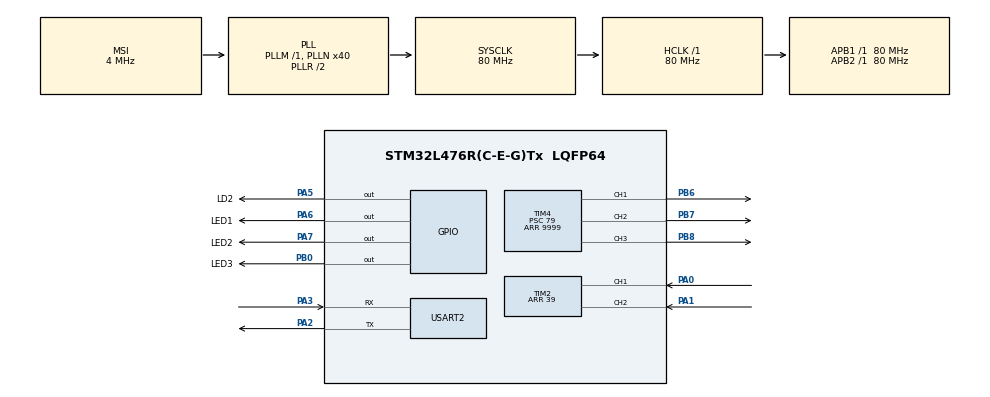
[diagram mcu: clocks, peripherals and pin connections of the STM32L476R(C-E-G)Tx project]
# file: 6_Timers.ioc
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Mcu.Family=STM32L4
Mcu.Name=STM32L476R(C-E-G)Tx
Mcu.Package=LQFP64
NVIC.PriorityGroup=NVIC_PRIORITYGROUP_4
NVIC.TIM3_IRQn=true\:9\:0\:true\:false\:true\:true\:true\:true
NVIC.TIM6_DAC_IRQn=true\:10\:0\:true\:false\:true\:true\:true\:true
PA0.Signal=S_TIM2_CH1
PA1.Signal=S_TIM2_CH2
PA13\ (JTMS-SWDIO).Mode=Serial_Wire
PA13\ (JTMS-SWDIO).Signal=SYS_JTMS-SWDIO
PA14\ (JTCK-SWCLK).Mode=Serial_Wire
PA14\ (JTCK-SWCLK).Signal=SYS_JTCK-SWCLK
PA2.Mode=Asynchronous
PA2.Signal=USART2_TX
PA3.Mode=Asynchronous
PA3.Signal=USART2_RX
PA5.GPIO_Label=LD2
PA5.Signal=GPIO_Output
PA6.GPIO_Label=LED1
PA6.Signal=GPIO_Output
PA7.GPIO_Label=LED2
PA7.Signal=GPIO_Output
PB0.GPIO_Label=LED3
PB0.Signal=GPIO_Output
PB6.Signal=S_TIM4_CH1
PB7.Signal=S_TIM4_CH2
PB8.Signal=S_TIM4_CH3
PC14-OSC32_IN\ (PC14).Mode=LSE-External-Oscillator
PC14-OSC32_IN\ (PC14).Signal=RCC_OSC32_IN
PC15-OSC32_OUT\ (PC15).Mode=LSE-External-Oscillator
PC15-OSC32_OUT\ (PC15).Signal=RCC_OSC32_OUT
ProjectManager.HeapSize=0x200
ProjectManager.StackSize=0x400
ProjectManager.TargetToolchain=STM32CubeIDE
RCC.AHBFreq_Value=80000000
RCC.APB1Freq_Value=80000000
RCC.APB1TimFreq_Value=80000000
RCC.APB2Freq_Value=80000000
RCC.APB2TimFreq_Value=80000000
RCC.CortexFreq_Value=80000000
RCC.HCLKFreq_Value=80000000
RCC.HSE_VALUE=8000000
RCC.HSI_VALUE=16000000
RCC.MSI_VALUE=4000000
RCC.PLLN=40
RCC.SYSCLKFreq_VALUE=80000000
RCC.SYSCLKSource=RCC_SYSCLKSOURCE_PLLCLK
RCC.VCOOutputFreq_Value=160000000
SH.S_TIM2_CH1.0=TIM2_CH1,Encoder_Interface
SH.S_TIM2_CH2.0=TIM2_CH2,Encoder_Interface
SH.S_TIM4_CH1.0=TIM4_CH1,PWM Generation1 CH1
SH.S_TIM4_CH2.0=TIM4_CH2,PWM Generation2 CH2
SH.S_TIM4_CH3.0=TIM4_CH3,PWM Generation3 CH3
TIM2.Period=39
TIM3.Channel-Output\ Compare1\ No\ Output=TIM_CHANNEL_1
TIM3.Channel-Output\ Compare2\ No\ Output=TIM_CHANNEL_2
TIM3.Channel-Output\ Compare3\ No\ Output=TIM_CHANNEL_3
TIM3.Period=9999
TIM3.Prescaler=7999
TIM3.Pulse-Output\ Compare1\ No\ Output=2500
TIM3.Pulse-Output\ Compare2\ No\ Output=5000
TIM3.Pulse-Output\ Compare3\ No\ Output=7500
TIM4.Channel-PWM\ Generation1\ CH1=TIM_CHANNEL_1
TIM4.Channel-PWM\ Generation2\ CH2=TIM_CHANNEL_2
TIM4.Channel-PWM\ Generation3\ CH3=TIM_CHANNEL_3
TIM4.OCPolarity_1=TIM_OCPOLARITY_LOW
TIM4.OCPolarity_2=TIM_OCPOLARITY_LOW
TIM4.OCPolarity_3=TIM_OCPOLARITY_LOW
TIM4.Period=9999
TIM4.Prescaler=79
TIM4.Pulse-PWM\ Generation1\ CH1=50
TIM4.Pulse-PWM\ Generation2\ CH2=400
TIM4.Pulse-PWM\ Generation3\ CH3=2000
TIM6.Period=9999
TIM6.Prescaler=7999
USART2.VirtualMode-Asynchronous=VM_ASYNC
VP_TIM3_VS_ClockSourceINT.Mode=Internal
VP_TIM3_VS_no_output1.Mode=Output Compare1 No Output
VP_TIM3_VS_no_output2.Mode=Output Compare2 No Output
VP_TIM3_VS_no_output3.Mode=Output Compare3 No Output
VP_TIM4_VS_ClockSourceINT.Mode=Internal
VP_TIM6_VS_ClockSourceINT.Mode=Enable_Timer
board=custom

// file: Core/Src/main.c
/* USER CODE BEGIN Header */
/**
  ******************************************************************************
  * @file           : main.c
  * @brief          : Main program body
  ******************************************************************************
  * @attention
  *
  * Copyright (c) 2024 STMicroelectronics.
  * All rights reserved.
  *
  * This software is licensed under terms that can be found in the LICENSE file
  * in the root directory of this software component.
  * If no LICENSE file comes with this software, it is provided AS-IS.
  *
  ******************************************************************************
  */
/* USER CODE END Header */
#include "main.h"

/* USER CODE BEGIN Includes */
#include <math.h>
#include <stdio.h>
/* USER CODE END Includes */

TIM_HandleTypeDef htim2;
TIM_HandleTypeDef htim3;
TIM_HandleTypeDef htim4;
TIM_HandleTypeDef htim6;

UART_HandleTypeDef huart2;

void SystemClock_Config(void);
static void MX_GPIO_Init(void);
static void MX_TIM6_Init(void);
static void MX_TIM3_Init(void);
static void MX_TIM4_Init(void);
static void MX_TIM2_Init(void);
static void MX_USART2_UART_Init(void);

/* USER CODE BEGIN 0 */

//Funkcja wywolywana po pojawieniu sie przerwania po przepelnieniu dowolnego licznika
//(Po przepelnieniu licznika wywolywane jest przerwanie)
//Funkcja obslugujaca przerwania po przepelnieniu dowolnego licznika:
void HAL_TIM_PeriodElapsedCallback(TIM_HandleTypeDef *htim) {

	//Jeżeli przerwanie wywolane zostalo po przepelnieniu sie licznika TIM6:
	if(htim == &htim6) {
		//Miganie dioda opiera sie o timer sprzetowy TIM6 i system przerwan
		//Program glowny nie jest blokowany.
		HAL_GPIO_TogglePin(LD2_GPIO_Port, LD2_Pin);
	}

	//Jeżeli przerwanie wywolane zostalo po przepelnieniu licznika TIM3:
	if(htim == &htim3) {
		//Zapalenie 3 zewnetrznych diod na plytce stykowej:
		HAL_GPIO_WritePin(LED1_GPIO_Port, LED1_Pin, GPIO_PIN_SET);
		HAL_GPIO_WritePin(LED2_GPIO_Port, LED2_Pin, GPIO_PIN_SET);
		HAL_GPIO_WritePin(LED3_GPIO_Port, LED3_Pin, GPIO_PIN_SET);
	}

}

//Funkcja obslugujaca przerwania generowanych przez poszczzegolne kanaly licznika
//(po przepelnieniu danego kanalu licznika - wartosc w parametrze pulse w konfiguracji):
void HAL_TIM_OC_DelayElapsedCallback(TIM_HandleTypeDef *htim) {

	//Jezeli przerwanie zostalo wywolane przez kanaly licznika TIM3
	if(htim == &htim3) {
		switch(HAL_TIM_GetActiveChannel(&htim3)) {
		case HAL_TIM_ACTIVE_CHANNEL_1:
			HAL_GPIO_WritePin(LED1_GPIO_Port, LED1_Pin, GPIO_PIN_RESET);
			break;
		case HAL_TIM_ACTIVE_CHANNEL_2:
			HAL_GPIO_WritePin(LED2_GPIO_Port, LED2_Pin, GPIO_PIN_RESET);
			break;
		case HAL_TIM_ACTIVE_CHANNEL_3:
			HAL_GPIO_WritePin(LED3_GPIO_Port, LED3_Pin, GPIO_PIN_RESET);
			break;
		default:
			break;
		}
	}
}

/*volatile uint32_t captured_value;
//Funkcja wywolywana w przerwaniu po pomiarze czasu trwania impulsu(stanu niskiego) wyjscia
//enkodera
void HAL_TIM_IC_CaptureCallback(TIM_HandleTypeDef *htim) {

	//Jezeli przerwanie zostalo wywolane przez kanal timera TIM2:
	if(htim == &htim2) {
		switch(HAL_TIM_GetActiveChannel(&htim2)) {
		case HAL_TIM_ACTIVE_CHANNEL_1:
			//Odcytanie dlugosci impulsu z kanalu 1 timera TIM2:
			captured_value = HAL_TIM_ReadCapturedValue(htim, TIM_CHANNEL_1);
			break;
		default:
			break;
		}

	}
}
*/

//Obliczanie wartosci wypelnienia pwm do sterowania dioda rgb:
float calc_pwm(float val)
{
    const float k = 0.13f;
    const float x0 = 70.0f;
    return 10000.0f / (1.0f + exp(-k * (val - x0)));
}

//Przekierowanie komunikatów wysylanych przez printf na UART:
int __io_putchar(int ch)
{
  if (ch == '\n') {
    __io_putchar('\r');
  }

  HAL_UART_Transmit(&huart2, (uint8_t*)&ch, 1, HAL_MAX_DELAY);

  return 1;
}

/* USER CODE END 0 */

int main(void)
{

  /* MCU Configuration--------------------------------------------------------*/

  /* Reset of all peripherals, Initializes the Flash interface and the Systick. */
  HAL_Init();

  /* Configure the system clock */
  SystemClock_Config();

  /* Initialize all configured peripherals */
  MX_GPIO_Init();
  MX_TIM6_Init();
  MX_TIM3_Init();
  MX_TIM4_Init();
  MX_TIM2_Init();
  MX_USART2_UART_Init();
  /* USER CODE BEGIN 2 */

  //Uruchomienie licznika TIM6:
  HAL_TIM_Base_Start_IT(&htim6);

  //Uruchomienie licznika TIM3:
  HAL_TIM_Base_Start_IT(&htim3);
  //Uruchomienie kanalow licznika TIM3 w trybie przerwan (przerwania sa obslugiwane w funkcji
  //HAL_TIM_OC_DelayElapsedCallback:
  HAL_TIM_OC_Start_IT(&htim3, TIM_CHANNEL_1);
  HAL_TIM_OC_Start_IT(&htim3, TIM_CHANNEL_2);
  HAL_TIM_OC_Start_IT(&htim3, TIM_CHANNEL_3);

  //Uruchomienie licznika TIM4:
  HAL_TIM_Base_Start_IT(&htim4);
  //Uruchomienie kanalow licznika TIM4 w trybie wyjscia PWM (kanaly licznika bezposrednio
  //steruja pinami). W konfiguracji sprzętowej (Pulse) mozna ustawic staly wspolczynnik
  //wypelnienia sygnalu PWM, natomiast w makrze __HAL_TIM_SET_COMPARE mozna sterowac
  //wspolczynnikiem wypelninia.:
  HAL_TIM_PWM_Start(&htim4, TIM_CHANNEL_1);
  HAL_TIM_PWM_Start(&htim4, TIM_CHANNEL_2);
  HAL_TIM_PWM_Start(&htim4, TIM_CHANNEL_3);

  //Uruchomienie licznika TIM2:
  HAL_TIM_Base_Start(&htim2);
  //Uruchomienie kanalu 1 licznika TIM2 w trybie wejscia dla sygnalu zewnetrznego w trybie przerwan:
  HAL_TIM_IC_Start_IT(&htim2, TIM_CHANNEL_1);

  //Uruchomienie timera TIM2 w trybie obsługi enkoderów (pomiaru pozycji enkodera):
  HAL_TIM_Encoder_Start(&htim2, TIM_CHANNEL_ALL);
  int16_t prev_value = 0;

  //uint32_t old_value = 0;

  //int counter = 0;

  /* USER CODE END 2 */

  /* Infinite loop */
  /* USER CODE BEGIN WHILE */
  while (1)
  {
	  //Sterowanie jasnością diody RGB - sygnałem PWM ze zmiennym współczynnikiem wypelnienia:
	  /*
	  float r = 50 * (1.0f + sin(counter / 100.0f));
	  float g = 50 * (1.0f + sin(1.5f * counter / 100.0f));
	  float b = 50 * (1.0f + sin(2.0f * counter / 100.0f));
	  __HAL_TIM_SET_COMPARE(&htim4, TIM_CHANNEL_1, calc_pwm(b));
	  __HAL_TIM_SET_COMPARE(&htim4, TIM_CHANNEL_2, calc_pwm(g));
	  __HAL_TIM_SET_COMPARE(&htim4, TIM_CHANNEL_3, calc_pwm(r));

	  HAL_Delay(10);
	  counter++;
	  */

	  //Wyswietlanie zliczonych impulsów z wyjscia enkodera:
	  /*
	  uint32_t value = __HAL_TIM_GET_COUNTER(&htim2);
	  if(old_value != value) {
		  old_value = value;
		  printf("value = %lu\n", value);
	  }
	  */

	  //Wyswietlanie czasu trwania impulsu (stanu niskiego) enkodera:
	  /*
	  if(captured_value != 0) {

		  printf("value = %lu\n", captured_value);
		  captured_value = 0;
	  }
	  */

	  //Wyswietlanie pozycji enkodera:
	  int16_t value = __HAL_TIM_GET_COUNTER(&htim2);
	  if(value != prev_value) {

		  printf("value = %d\n", value);
		  prev_value = value;
	  }

    /* USER CODE END WHILE */

  }
}

void SystemClock_Config(void)
{
  RCC_OscInitTypeDef RCC_OscInitStruct = {0};
  RCC_ClkInitTypeDef RCC_ClkInitStruct = {0};

  /** Configure the main internal regulator output voltage
  */
  if (HAL_PWREx_ControlVoltageScaling(PWR_REGULATOR_VOLTAGE_SCALE1) != HAL_OK)
  {
    Error_Handler();
  }

  /** Configure LSE Drive Capability
  */
  HAL_PWR_EnableBkUpAccess();
  __HAL_RCC_LSEDRIVE_CONFIG(RCC_LSEDRIVE_LOW);

  /** Initializes the RCC Oscillators according to the specified parameters
  * in the RCC_OscInitTypeDef structure.
  */
  RCC_OscInitStruct.OscillatorType = RCC_OSCILLATORTYPE_LSE|RCC_OSCILLATORTYPE_MSI;
  RCC_OscInitStruct.LSEState = RCC_LSE_ON;
  RCC_OscInitStruct.MSIState = RCC_MSI_ON;
  RCC_OscInitStruct.MSICalibrationValue = 0;
  RCC_OscInitStruct.MSIClockRange = RCC_MSIRANGE_6;
  RCC_OscInitStruct.PLL.PLLState = RCC_PLL_ON;
  RCC_OscInitStruct.PLL.PLLSource = RCC_PLLSOURCE_MSI;
  RCC_OscInitStruct.PLL.PLLM = 1;
  RCC_OscInitStruct.PLL.PLLN = 40;
  RCC_OscInitStruct.PLL.PLLP = RCC_PLLP_DIV7;
  RCC_OscInitStruct.PLL.PLLQ = RCC_PLLQ_DIV2;
  RCC_OscInitStruct.PLL.PLLR = RCC_PLLR_DIV2;
  if (HAL_RCC_OscConfig(&RCC_OscInitStruct) != HAL_OK)
  {
    Error_Handler();
  }

  /** Initializes the CPU, AHB and APB buses clocks
  */
  RCC_ClkInitStruct.ClockType = RCC_CLOCKTYPE_HCLK|RCC_CLOCKTYPE_SYSCLK
                              |RCC_CLOCKTYPE_PCLK1|RCC_CLOCKTYPE_PCLK2;
  RCC_ClkInitStruct.SYSCLKSource = RCC_SYSCLKSOURCE_PLLCLK;
  RCC_ClkInitStruct.AHBCLKDivider = RCC_SYSCLK_DIV1;
  RCC_ClkInitStruct.APB1CLKDivider = RCC_HCLK_DIV1;
  RCC_ClkInitStruct.APB2CLKDivider = RCC_HCLK_DIV1;

  if (HAL_RCC_ClockConfig(&RCC_ClkInitStruct, FLASH_LATENCY_4) != HAL_OK)
  {
    Error_Handler();
  }

  /** Enable MSI Auto calibration
  */
  HAL_RCCEx_EnableMSIPLLMode();
}

static void MX_TIM2_Init(void)
{

  TIM_Encoder_InitTypeDef sConfig = {0};
  TIM_MasterConfigTypeDef sMasterConfig = {0};

  htim2.Instance = TIM2;
  htim2.Init.Prescaler = 0;
  htim2.Init.CounterMode = TIM_COUNTERMODE_UP;
  htim2.Init.Period = 39;
  htim2.Init.ClockDivision = TIM_CLOCKDIVISION_DIV1;
  htim2.Init.AutoReloadPreload = TIM_AUTORELOAD_PRELOAD_DISABLE;
  sConfig.EncoderMode = TIM_ENCODERMODE_TI1;
  sConfig.IC1Polarity = TIM_ICPOLARITY_RISING;
  sConfig.IC1Selection = TIM_ICSELECTION_DIRECTTI;
  sConfig.IC1Prescaler = TIM_ICPSC_DIV1;
  sConfig.IC1Filter = 0;
  sConfig.IC2Polarity = TIM_ICPOLARITY_RISING;
  sConfig.IC2Selection = TIM_ICSELECTION_DIRECTTI;
  sConfig.IC2Prescaler = TIM_ICPSC_DIV1;
  sConfig.IC2Filter = 0;
  if (HAL_TIM_Encoder_Init(&htim2, &sConfig) != HAL_OK)
  {
    Error_Handler();
  }
  sMasterConfig.MasterOutputTrigger = TIM_TRGO_RESET;
  sMasterConfig.MasterSlaveMode = TIM_MASTERSLAVEMODE_DISABLE;
  if (HAL_TIMEx_MasterConfigSynchronization(&htim2, &sMasterConfig) != HAL_OK)
  {
    Error_Handler();
  }

}

static void MX_TIM3_Init(void)
{

  TIM_ClockConfigTypeDef sClockSourceConfig = {0};
  TIM_MasterConfigTypeDef sMasterConfig = {0};
  TIM_OC_InitTypeDef sConfigOC = {0};

  htim3.Instance = TIM3;
  htim3.Init.Prescaler = 7999;
  htim3.Init.CounterMode = TIM_COUNTERMODE_UP;
  htim3.Init.Period = 9999;
  htim3.Init.ClockDivision = TIM_CLOCKDIVISION_DIV1;
  htim3.Init.AutoReloadPreload = TIM_AUTORELOAD_PRELOAD_DISABLE;
  if (HAL_TIM_Base_Init(&htim3) != HAL_OK)
  {
    Error_Handler();
  }
  sClockSourceConfig.ClockSource = TIM_CLOCKSOURCE_INTERNAL;
  if (HAL_TIM_ConfigClockSource(&htim3, &sClockSourceConfig) != HAL_OK)
  {
    Error_Handler();
  }
  if (HAL_TIM_OC_Init(&htim3) != HAL_OK)
  {
    Error_Handler();
  }
  sMasterConfig.MasterOutputTrigger = TIM_TRGO_RESET;
  sMasterConfig.MasterSlaveMode = TIM_MASTERSLAVEMODE_DISABLE;
  if (HAL_TIMEx_MasterConfigSynchronization(&htim3, &sMasterConfig) != HAL_OK)
  {
    Error_Handler();
  }
  sConfigOC.OCMode = TIM_OCMODE_TIMING;
  sConfigOC.Pulse = 2500;
  sConfigOC.OCPolarity = TIM_OCPOLARITY_HIGH;
  sConfigOC.OCFastMode = TIM_OCFAST_DISABLE;
  if (HAL_TIM_OC_ConfigChannel(&htim3, &sConfigOC, TIM_CHANNEL_1) != HAL_OK)
  {
    Error_Handler();
  }
  sConfigOC.Pulse = 5000;
  if (HAL_TIM_OC_ConfigChannel(&htim3, &sConfigOC, TIM_CHANNEL_2) != HAL_OK)
  {
    Error_Handler();
  }
  sConfigOC.Pulse = 7500;
  if (HAL_TIM_OC_ConfigChannel(&htim3, &sConfigOC, TIM_CHANNEL_3) != HAL_OK)
  {
    Error_Handler();
  }

}

static void MX_TIM4_Init(void)
{

  TIM_ClockConfigTypeDef sClockSourceConfig = {0};
  TIM_MasterConfigTypeDef sMasterConfig = {0};
  TIM_OC_InitTypeDef sConfigOC = {0};

  htim4.Instance = TIM4;
  htim4.Init.Prescaler = 79;
  htim4.Init.CounterMode = TIM_COUNTERMODE_UP;
  htim4.Init.Period = 9999;
  htim4.Init.ClockDivision = TIM_CLOCKDIVISION_DIV1;
  htim4.Init.AutoReloadPreload = TIM_AUTORELOAD_PRELOAD_DISABLE;
  if (HAL_TIM_Base_Init(&htim4) != HAL_OK)
  {
    Error_Handler();
  }
  sClockSourceConfig.ClockSource = TIM_CLOCKSOURCE_INTERNAL;
  if (HAL_TIM_ConfigClockSource(&htim4, &sClockSourceConfig) != HAL_OK)
  {
    Error_Handler();
  }
  if (HAL_TIM_PWM_Init(&htim4) != HAL_OK)
  {
    Error_Handler();
  }
  sMasterConfig.MasterOutputTrigger = TIM_TRGO_RESET;
  sMasterConfig.MasterSlaveMode = TIM_MASTERSLAVEMODE_DISABLE;
  if (HAL_TIMEx_MasterConfigSynchronization(&htim4, &sMasterConfig) != HAL_OK)
  {
    Error_Handler();
  }
  sConfigOC.OCMode = TIM_OCMODE_PWM1;
  sConfigOC.Pulse = 50;
  sConfigOC.OCPolarity = TIM_OCPOLARITY_LOW;
  sConfigOC.OCFastMode = TIM_OCFAST_DISABLE;
  if (HAL_TIM_PWM_ConfigChannel(&htim4, &sConfigOC, TIM_CHANNEL_1) != HAL_OK)
  {
    Error_Handler();
  }
  sConfigOC.Pulse = 400;
  if (HAL_TIM_PWM_ConfigChannel(&htim4, &sConfigOC, TIM_CHANNEL_2) != HAL_OK)
  {
    Error_Handler();
  }
  sConfigOC.Pulse = 2000;
  if (HAL_TIM_PWM_ConfigChannel(&htim4, &sConfigOC, TIM_CHANNEL_3) != HAL_OK)
  {
    Error_Handler();
  }
  HAL_TIM_MspPostInit(&htim4);

}

static void MX_TIM6_Init(void)
{

  TIM_MasterConfigTypeDef sMasterConfig = {0};

  htim6.Instance = TIM6;
  htim6.Init.Prescaler = 7999;
  htim6.Init.CounterMode = TIM_COUNTERMODE_UP;
  htim6.Init.Period = 9999;
  htim6.Init.AutoReloadPreload = TIM_AUTORELOAD_PRELOAD_DISABLE;
  if (HAL_TIM_Base_Init(&htim6) != HAL_OK)
  {
    Error_Handler();
  }
  sMasterConfig.MasterOutputTrigger = TIM_TRGO_RESET;
  sMasterConfig.MasterSlaveMode = TIM_MASTERSLAVEMODE_DISABLE;
  if (HAL_TIMEx_MasterConfigSynchronization(&htim6, &sMasterConfig) != HAL_OK)
  {
    Error_Handler();
  }

}

static void MX_USART2_UART_Init(void)
{

  huart2.Instance = USART2;
  huart2.Init.BaudRate = 115200;
  huart2.Init.WordLength = UART_WORDLENGTH_8B;
  huart2.Init.StopBits = UART_STOPBITS_1;
  huart2.Init.Parity = UART_PARITY_NONE;
  huart2.Init.Mode = UART_MODE_TX_RX;
  huart2.Init.HwFlowCtl = UART_HWCONTROL_NONE;
  huart2.Init.OverSampling = UART_OVERSAMPLING_16;
  huart2.Init.OneBitSampling = UART_ONE_BIT_SAMPLE_DISABLE;
  huart2.AdvancedInit.AdvFeatureInit = UART_ADVFEATURE_NO_INIT;
  if (HAL_UART_Init(&huart2) != HAL_OK)
  {
    Error_Handler();
  }

}

static void MX_GPIO_Init(void)
{
  GPIO_InitTypeDef GPIO_InitStruct = {0};

  /* GPIO Ports Clock Enable */
  __HAL_RCC_GPIOC_CLK_ENABLE();
  __HAL_RCC_GPIOA_CLK_ENABLE();
  __HAL_RCC_GPIOB_CLK_ENABLE();

  /*Configure GPIO pin Output Level */
  HAL_GPIO_WritePin(GPIOA, LD2_Pin|LED1_Pin|LED2_Pin, GPIO_PIN_RESET);

  /*Configure GPIO pin Output Level */
  HAL_GPIO_WritePin(LED3_GPIO_Port, LED3_Pin, GPIO_PIN_RESET);

  /*Configure GPIO pins : LD2_Pin LED1_Pin LED2_Pin */
  GPIO_InitStruct.Pin = LD2_Pin|LED1_Pin|LED2_Pin;
  GPIO_InitStruct.Mode = GPIO_MODE_OUTPUT_PP;
  GPIO_InitStruct.Pull = GPIO_NOPULL;
  GPIO_InitStruct.Speed = GPIO_SPEED_FREQ_LOW;
  HAL_GPIO_Init(GPIOA, &GPIO_InitStruct);

  /*Configure GPIO pin : LED3_Pin */
  GPIO_InitStruct.Pin = LED3_Pin;
  GPIO_InitStruct.Mode = GPIO_MODE_OUTPUT_PP;
  GPIO_InitStruct.Pull = GPIO_NOPULL;
  GPIO_InitStruct.Speed = GPIO_SPEED_FREQ_LOW;
  HAL_GPIO_Init(LED3_GPIO_Port, &GPIO_InitStruct);

}

void Error_Handler(void)
{
  __disable_irq();
  while (1)
  {
  }
}
